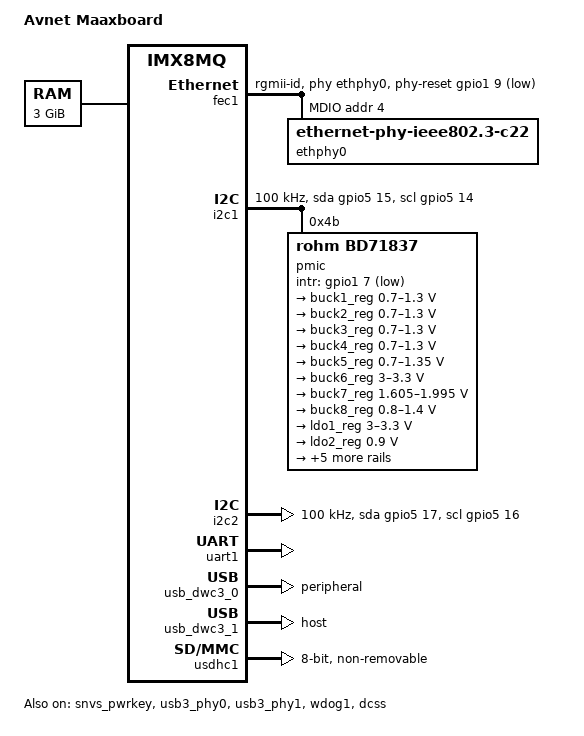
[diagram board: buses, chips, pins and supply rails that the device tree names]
// SPDX-License-Identifier: (GPL-2.0 OR MIT)
/*
 * Copyright 2020 EMBEST
 * Copyright (C) 2017-2018 Pengutronix, Lucas Stach <kernel@pengutronix.de>
 */

/dts-v1/;

#include "imx8mq.dtsi"

/ {
	model = "Avnet Maaxboard";
	compatible = "avnet/embest,maaxboard", "fsl,imx8mq";

	chosen {
		bootargs = "console=ttymxc0,115200 earlycon=ec_imx6q,0x30860000,115200";
		stdout-path = &uart1;
	};

	memory@40000000 {
		device_type = "memory";
		reg = <0x00000000 0x40000000 0 0xc0000000>;
	};
};

&fec1 {
	pinctrl-names = "default";
	pinctrl-0 = <&pinctrl_fec1>;
	phy-mode = "rgmii-id";
	phy-handle = <&ethphy0>;
	phy-reset-gpios = <&gpio1 9 GPIO_ACTIVE_LOW>;
	phy-reset-duration = <10>;
	fsl,magic-packet;
	status = "okay";

	mdio {
		#address-cells = <1>;
		#size-cells = <0>;

		ethphy0: ethernet-phy@4 {
			compatible = "ethernet-phy-ieee802.3-c22";
			reg = <4>;
			at803x,eee-disabled;
		};
	};
};

&i2c1 {
	clock-frequency = <100000>;
	pinctrl-names = "default", "gpio";
	pinctrl-0 = <&pinctrl_i2c1>;
	pinctrl-1 = <&pinctrl_i2c1_gpio>;
	scl-gpios = <&gpio5 14 GPIO_ACTIVE_HIGH>;
	sda-gpios = <&gpio5 15 GPIO_ACTIVE_HIGH>;
	status = "okay";

	pmic: bd71837@4b {
		reg = <0x4b>;
		compatible = "rohm,bd71837";
		/* PMIC BD71837 PMIC_nINT GPIO1_IO3 */
		pinctrl-0 = <&pinctrl_pmic>;
		gpio_intr = <&gpio1 7 GPIO_ACTIVE_LOW>;

		gpo {
			rohm,drv = <0x0C>;	/* 0b0000_1100 all gpos with cmos output mode */
		};

		regulators {
			#address-cells = <1>;
			#size-cells = <0>;

			bd71837,pmic-buck2-uses-i2c-dvs;
			bd71837,pmic-buck2-dvs-voltage = <1000000>, <900000>, <0>; /* VDD_ARM: Run-Idle */

			buck1_reg: regulator@0 {
				reg = <0>;
				regulator-compatible = "buck1";
				regulator-min-microvolt = <700000>;
				regulator-max-microvolt = <1300000>;
				regulator-boot-on;
				regulator-always-on;
				regulator-ramp-delay = <1250>;
			};

			buck2_reg: regulator@1 {
				reg = <1>;
				regulator-compatible = "buck2";
				regulator-min-microvolt = <700000>;
				regulator-max-microvolt = <1300000>;
				regulator-boot-on;
				regulator-always-on;
				regulator-ramp-delay = <1250>;
			};

			buck3_reg: regulator@2 {
				reg = <2>;
				regulator-compatible = "buck3";
				regulator-min-microvolt = <700000>;
				regulator-max-microvolt = <1300000>;
			};

			buck4_reg: regulator@3 {
				reg = <3>;
				regulator-compatible = "buck4";
				regulator-min-microvolt = <700000>;
				regulator-max-microvolt = <1300000>;
			};

			buck5_reg: regulator@4 {
				reg = <4>;
				regulator-compatible = "buck5";
				regulator-min-microvolt = <700000>;
				regulator-max-microvolt = <1350000>;
				regulator-boot-on;
				regulator-always-on;
			};

			buck6_reg: regulator@5 {
				reg = <5>;
				regulator-compatible = "buck6";
				regulator-min-microvolt = <3000000>;
				regulator-max-microvolt = <3300000>;
				regulator-boot-on;
				regulator-always-on;
			};

			buck7_reg: regulator@6 {
				reg = <6>;
				regulator-compatible = "buck7";
				regulator-min-microvolt = <1605000>;
				regulator-max-microvolt = <1995000>;
				regulator-boot-on;
				regulator-always-on;
			};

			buck8_reg: regulator@7 {
				reg = <7>;
				regulator-compatible = "buck8";
				regulator-min-microvolt = <800000>;
				regulator-max-microvolt = <1400000>;
				regulator-boot-on;
				regulator-always-on;
			};

			ldo1_reg: regulator@8 {
				reg = <8>;
				regulator-compatible = "ldo1";
				regulator-min-microvolt = <3000000>;
				regulator-max-microvolt = <3300000>;
				regulator-boot-on;
				regulator-always-on;
			};

			ldo2_reg: regulator@9 {
				reg = <9>;
				regulator-compatible = "ldo2";
				regulator-min-microvolt = <900000>;
				regulator-max-microvolt = <900000>;
				regulator-boot-on;
				regulator-always-on;
			};

			ldo3_reg: regulator@10 {
				reg = <10>;
				regulator-compatible = "ldo3";
				regulator-min-microvolt = <1800000>;
				regulator-max-microvolt = <3300000>;
				regulator-boot-on;
				regulator-always-on;
			};

			ldo4_reg: regulator@11 {
				reg = <11>;
				regulator-compatible = "ldo4";
				regulator-min-microvolt = <900000>;
				regulator-max-microvolt = <1800000>;
				regulator-boot-on;
				regulator-always-on;
			};

			ldo5_reg: regulator@12 {
				reg = <12>;
				regulator-compatible = "ldo5";
				regulator-min-microvolt = <1800000>;
				regulator-max-microvolt = <3300000>;
			};

			ldo6_reg: regulator@13 {
				reg = <13>;
				regulator-compatible = "ldo6";
				regulator-min-microvolt = <900000>;
				regulator-max-microvolt = <1800000>;
				regulator-boot-on;
				regulator-always-on;
			};

			ldo7_reg: regulator@14 {
				reg = <14>;
				regulator-compatible = "ldo7";
				regulator-min-microvolt = <1800000>;
				regulator-max-microvolt = <3300000>;
			};
		};
	};
};

&i2c2 {
	clock-frequency = <100000>;
	pinctrl-names = "default", "gpio";
	pinctrl-0 = <&pinctrl_i2c2>;
	pinctrl-1 = <&pinctrl_i2c2_gpio>;
	scl-gpios = <&gpio5 16 GPIO_ACTIVE_HIGH>;
	sda-gpios = <&gpio5 17 GPIO_ACTIVE_HIGH>;
	status = "okay";
};

&snvs_pwrkey {
	status = "okay";
};

&uart1 {
	pinctrl-names = "default";
	pinctrl-0 = <&pinctrl_uart1>;
	assigned-clocks = <&clk IMX8MQ_CLK_UART1>;
	assigned-clock-parents = <&clk IMX8MQ_CLK_25M>;
	status = "okay";
};

&usb3_phy0 {
	status = "okay";
};

&usb_dwc3_0 {
	dr_mode = "peripheral";
	status = "okay";
};

&usb3_phy1 {
	status = "okay";
};

&usb_dwc3_1 {
	dr_mode = "host";
	status = "okay";
};

&usdhc1 {
	pinctrl-names = "default", "state_100mhz", "state_200mhz";
	pinctrl-0 = <&pinctrl_usdhc1>;
	pinctrl-1 = <&pinctrl_usdhc1_100mhz>;
	pinctrl-2 = <&pinctrl_usdhc1_200mhz>;
	bus-width = <8>;
	non-removable;
	no-sdio;
	status = "okay";
};

&wdog1 {
	pinctrl-names = "default";
	pinctrl-0 = <&pinctrl_wdog>;
	fsl,ext-reset-output;
	status = "okay";
};

&dcss {
	status = "okay";
	port@0 {
		dcss_out: endpoint {
			remote-endpoint = <&hdmi_in>;
		};
	};
};

&hdmi {
	compatible = "fsl,imx8mq-hdmi";
	status = "disabled";

	display-timings {
		native-mode = <&timing1>;

		timing1: timing1 {
			clock-frequency = <74250000>;
			hactive = <1280>;
			vactive = <720>;
			hfront-porch = <220>;
			hback-porch = <110>;
			hsync-len = <40>;
			vback-porch = <5>;
			vfront-porch = <20>;
			vsync-len = <5>;
		};
	};
	
	port@0 {
		hdmi_in: endpoint {
			remote-endpoint = <&dcss_out>;
		};
	};
};

&iomuxc {
	pinctrl-names = "default";

	pinctrl_buck2: vddarmgrp {
		fsl,pins = <
			MX8MQ_IOMUXC_GPIO1_IO13_GPIO1_IO13		0x19
		>;

	};

	pinctrl_fec1: fec1grp {
		fsl,pins = <
			MX8MQ_IOMUXC_ENET_MDC_ENET1_MDC			0x3
			MX8MQ_IOMUXC_ENET_MDIO_ENET1_MDIO		0x23
			MX8MQ_IOMUXC_ENET_TD3_ENET1_RGMII_TD3		0x1f
			MX8MQ_IOMUXC_ENET_TD2_ENET1_RGMII_TD2		0x1f
			MX8MQ_IOMUXC_ENET_TD1_ENET1_RGMII_TD1		0x1f
			MX8MQ_IOMUXC_ENET_TD0_ENET1_RGMII_TD0		0x1f
			MX8MQ_IOMUXC_ENET_RD3_ENET1_RGMII_RD3		0x91
			MX8MQ_IOMUXC_ENET_RD2_ENET1_RGMII_RD2		0x91
			MX8MQ_IOMUXC_ENET_RD1_ENET1_RGMII_RD1		0x91
			MX8MQ_IOMUXC_ENET_RD0_ENET1_RGMII_RD0		0x91
			MX8MQ_IOMUXC_ENET_TXC_ENET1_RGMII_TXC		0x1f
			MX8MQ_IOMUXC_ENET_RXC_ENET1_RGMII_RXC		0x91
			MX8MQ_IOMUXC_ENET_RX_CTL_ENET1_RGMII_RX_CTL	0x91
			MX8MQ_IOMUXC_ENET_TX_CTL_ENET1_RGMII_TX_CTL	0x1f
			MX8MQ_IOMUXC_GPIO1_IO09_GPIO1_IO9		0x19
		>;
	};

	pinctrl_i2c1: i2c1grp {
		fsl,pins = <
			MX8MQ_IOMUXC_I2C1_SCL_I2C1_SCL			0x4000007f
			MX8MQ_IOMUXC_I2C1_SDA_I2C1_SDA			0x4000007f
		>;
	};

	pinctrl_i2c2: i2c2grp {
		fsl,pins = <
			MX8MQ_IOMUXC_I2C2_SCL_I2C2_SCL	0x40000067
			MX8MQ_IOMUXC_I2C2_SDA_I2C2_SDA	0x40000067
		>;
	};

	pinctrl_i2c1_gpio: i2c1grp-gpio {
		fsl,pins = <
			MX8MQ_IOMUXC_I2C1_SCL_GPIO5_IO14        		0x7f
			MX8MQ_IOMUXC_I2C1_SDA_GPIO5_IO15        		0x7f
		>;
	};

	pinctrl_i2c2_gpio: i2c2grp-gpio {
		fsl,pins = <
			MX8MQ_IOMUXC_I2C2_SCL_GPIO5_IO16        		0x7f
			MX8MQ_IOMUXC_I2C2_SDA_GPIO5_IO17        		0x7f
		>;
	};

	pinctrl_reg_usdhc2: regusdhc2grpgpio {
		fsl,pins = <
			MX8MQ_IOMUXC_SD2_CD_B_GPIO2_IO12	0x41
			MX8MQ_IOMUXC_SD2_RESET_B_GPIO2_IO19		0x41
		>;
	};

	pinctrl_ss_sel: usb3ssgrp{
		fsl,pins = <
			MX8MQ_IOMUXC_NAND_RE_B_GPIO3_IO15		0x16
		>;
	};

	pinctrl_pmic: pmicirq {
		fsl,pins = <
			MX8MQ_IOMUXC_GPIO1_IO07_GPIO1_IO7		0x41
		>;
	};

	pinctrl_uart1: uart1grp {
		fsl,pins = <
			MX8MQ_IOMUXC_UART1_RXD_UART1_DCE_RX		0x49
			MX8MQ_IOMUXC_UART1_TXD_UART1_DCE_TX		0x49
		>;
	};

	pinctrl_usdhc1: usdhc1grp {
		fsl,pins = <
			MX8MQ_IOMUXC_SD1_CLK_USDHC1_CLK			0x83
			MX8MQ_IOMUXC_SD1_CMD_USDHC1_CMD			0xc3
			MX8MQ_IOMUXC_SD1_DATA0_USDHC1_DATA0		0xc3
			MX8MQ_IOMUXC_SD1_DATA1_USDHC1_DATA1		0xc3
			MX8MQ_IOMUXC_SD1_DATA2_USDHC1_DATA2		0xc3
			MX8MQ_IOMUXC_SD1_DATA3_USDHC1_DATA3		0xc3
			MX8MQ_IOMUXC_SD1_DATA4_USDHC1_DATA4		0xc3
			MX8MQ_IOMUXC_SD1_DATA5_USDHC1_DATA5		0xc3
			MX8MQ_IOMUXC_SD1_DATA6_USDHC1_DATA6		0xc3
			MX8MQ_IOMUXC_SD1_DATA7_USDHC1_DATA7		0xc3
			MX8MQ_IOMUXC_SD1_STROBE_USDHC1_STROBE		0x83
			MX8MQ_IOMUXC_SD1_RESET_B_USDHC1_RESET_B		0xc1
		>;
	};

	pinctrl_usdhc1_100mhz: usdhc1-100grp {
		fsl,pins = <
			MX8MQ_IOMUXC_SD1_CLK_USDHC1_CLK			0x8d
			MX8MQ_IOMUXC_SD1_CMD_USDHC1_CMD			0xcd
			MX8MQ_IOMUXC_SD1_DATA0_USDHC1_DATA0		0xcd
			MX8MQ_IOMUXC_SD1_DATA1_USDHC1_DATA1		0xcd
			MX8MQ_IOMUXC_SD1_DATA2_USDHC1_DATA2		0xcd
			MX8MQ_IOMUXC_SD1_DATA3_USDHC1_DATA3		0xcd
			MX8MQ_IOMUXC_SD1_DATA4_USDHC1_DATA4		0xcd
			MX8MQ_IOMUXC_SD1_DATA5_USDHC1_DATA5		0xcd
			MX8MQ_IOMUXC_SD1_DATA6_USDHC1_DATA6		0xcd
			MX8MQ_IOMUXC_SD1_DATA7_USDHC1_DATA7		0xcd
			MX8MQ_IOMUXC_SD1_STROBE_USDHC1_STROBE		0x8d
			MX8MQ_IOMUXC_SD1_RESET_B_USDHC1_RESET_B		0xc1
		>;
	};

	pinctrl_usdhc1_200mhz: usdhc1-200grp {
		fsl,pins = <
			MX8MQ_IOMUXC_SD1_CLK_USDHC1_CLK			0x9f
			MX8MQ_IOMUXC_SD1_CMD_USDHC1_CMD			0xdf
			MX8MQ_IOMUXC_SD1_DATA0_USDHC1_DATA0		0xdf
			MX8MQ_IOMUXC_SD1_DATA1_USDHC1_DATA1		0xdf
			MX8MQ_IOMUXC_SD1_DATA2_USDHC1_DATA2		0xdf
			MX8MQ_IOMUXC_SD1_DATA3_USDHC1_DATA3		0xdf
			MX8MQ_IOMUXC_SD1_DATA4_USDHC1_DATA4		0xdf
			MX8MQ_IOMUXC_SD1_DATA5_USDHC1_DATA5		0xdf
			MX8MQ_IOMUXC_SD1_DATA6_USDHC1_DATA6		0xdf
			MX8MQ_IOMUXC_SD1_DATA7_USDHC1_DATA7		0xdf
			MX8MQ_IOMUXC_SD1_STROBE_USDHC1_STROBE		0x9f
			MX8MQ_IOMUXC_SD1_RESET_B_USDHC1_RESET_B		0xc1
		>;
	};

	pinctrl_wdog: wdog1grp {
		fsl,pins = <
			MX8MQ_IOMUXC_GPIO1_IO02_WDOG1_WDOG_B		0xc6
		>;
	};

};
